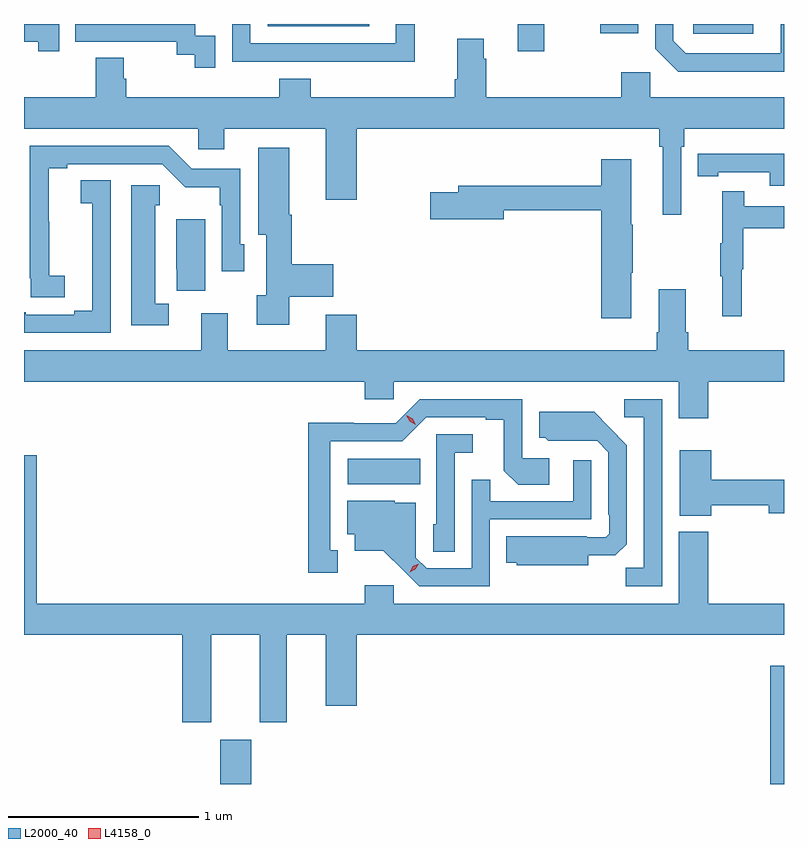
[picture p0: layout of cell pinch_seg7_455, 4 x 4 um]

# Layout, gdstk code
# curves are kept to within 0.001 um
import gdstk
lib = gdstk.Library(unit=1e-6, precision=1e-09)
def R(c, l, rs):  # rectangles x0, y0, x1, y1
    for r in rs: c.add(gdstk.rectangle(r[:2], r[2:], *l))
def P(c, l, *ps):  # polygons
    for p in ps: c.add(gdstk.Polygon(p, *l))
L2000_40 = (2000, 40)
L4158_0 = (4158, 0)

pinch_seg7_455 = lib.new_cell('pinch_seg7_455')
R(pinch_seg7_455, L2000_40, [(176.441,1067.762,176.605,1067.995), (179.336,1067.762,179.409,1068.385), (177.114,1069.34,177.494,1069.474), (178.007,1071.618,178.148,1071.762), (178.932,1071.711,179.248,1071.762), (178.442,1071.713,178.642,1071.762), (176.691,1071.75,177.226,1071.762)])
P(pinch_seg7_455, L2000_40, [(179.409,1071.762),(179.393,1071.762),(179.393,1071.609),(178.893,1071.609),(178.827,1071.675),(178.827,1071.762),(178.731,1071.762),(178.731,1071.633),(178.852,1071.512),(179.409,1071.512)],
  [(177.465,1071.762),(177.366,1071.762),(177.366,1071.66),(176.601,1071.66),(176.601,1071.762),(176.505,1071.762),(176.505,1071.564),(177.001,1071.564),(177.001,1071.563),(177.465,1071.563)],
  [(175.595,1071.762),(175.409,1071.762),(175.409,1071.669),(175.484,1071.669),(175.484,1071.618),(175.595,1071.618)],
  [(176.415,1071.699),(176.31,1071.699),(176.31,1071.762),(175.68,1071.762),(175.68,1071.669),(176.214,1071.669),(176.214,1071.601),(176.307,1071.601),(176.307,1071.531),(176.415,1071.531)],
  [(178.753,1071.116),(178.772,1071.116),(178.772,1070.757),(178.869,1070.757),(178.869,1071.116),(178.883,1071.116),(178.883,1071.212),(179.409,1071.212),(179.409,1071.376),(178.704,1071.376),(178.704,1071.508),(178.553,1071.508),(178.553,1071.376),(177.842,1071.376),(177.842,1071.578),(177.829,1071.578),(177.829,1071.685),(177.689,1071.685),(177.689,1071.472),(177.677,1071.472),(177.677,1071.376),(176.918,1071.376),(176.918,1071.475),(176.753,1071.475),(176.753,1071.376),(175.946,1071.376),(175.946,1071.474),(175.933,1071.474),(175.933,1071.584),(175.786,1071.584),(175.786,1071.376),(175.409,1071.376),(175.409,1071.212),(176.325,1071.212),(176.325,1071.102),(176.464,1071.102),(176.464,1071.212),(176.996,1071.212),(176.996,1070.838),(177.16,1070.838),(177.16,1071.212),(178.753,1071.212)],
  [(175.624,1070.438),(175.542,1070.438),(175.54,1071.004),(175.636,1071.004),(175.636,1071.024),(176.136,1071.024),(176.257,1070.903),(176.439,1070.903),(176.439,1070.807),(176.451,1070.807),(176.451,1070.46),(176.568,1070.46),(176.568,1070.604),(176.547,1070.604),(176.547,1071),(176.292,1071),(176.172,1071.12),(175.438,1071.12),(175.438,1070.425),(175.444,1070.425),(175.444,1070.323),(175.624,1070.323)],
  [(176.806,1070.327),(177.037,1070.327),(177.037,1070.498),(176.819,1070.498),(176.819,1070.758),(176.806,1070.758),(176.806,1071.112),(176.642,1071.112),(176.642,1070.654),(176.684,1070.654),(176.684,1070.334),(176.634,1070.334),(176.634,1070.178),(176.806,1070.178)],
  [(179.409,1071.079),(179.062,1071.079),(179.062,1071.078),(178.954,1071.078),(178.954,1070.962),(179.062,1070.962),(179.062,1070.982),(179.334,1070.982),(179.334,1070.91),(179.409,1070.91)],
  [(178.606,1070.452),(178.614,1070.452),(178.614,1070.705),(178.606,1070.705),(178.606,1071.049),(178.448,1071.049),(178.448,1070.911),(177.695,1070.911),(177.695,1070.877),(177.546,1070.877),(177.546,1070.735),(177.934,1070.735),(177.934,1070.782),(178.448,1070.782),(178.448,1070.214),(178.606,1070.214)],
  [(175.866,1070.939),(175.707,1070.939),(175.707,1070.819),(175.768,1070.819),(175.768,1070.515),(175.769,1070.515),(175.769,1070.252),(175.673,1070.252),(175.673,1070.232),(175.417,1070.232),(175.417,1070.246),(175.409,1070.246),(175.409,1070.136),(175.866,1070.136)],
  [(176.17,1070.289),(176.101,1070.289),(176.101,1070.808),(176.123,1070.808),(176.123,1070.914),(175.973,1070.914),(175.973,1070.177),(176.17,1070.177)],
  [(179.186,1070.472),(179.194,1070.472),(179.194,1070.686),(179.409,1070.686),(179.409,1070.802),(179.201,1070.802),(179.201,1070.881),(179.084,1070.881),(179.084,1070.609),(179.073,1070.609),(179.073,1070.435),(179.084,1070.435),(179.084,1070.223),(179.186,1070.223)],
  [(176.362,1070.734),(176.21,1070.734),(176.21,1070.47),(176.213,1070.47),(176.213,1070.358),(176.362,1070.358)],
  [(179.009,1069.88),(179.409,1069.88),(179.409,1070.044),(178.904,1070.044),(178.904,1070.14),(178.891,1070.14),(178.891,1070.365),(178.751,1070.365),(178.751,1070.14),(178.739,1070.14),(178.739,1070.044),(177.16,1070.044),(177.16,1070.233),(176.996,1070.233),(176.996,1070.044),(176.482,1070.044),(176.482,1070.239),(176.342,1070.239),(176.342,1070.044),(175.409,1070.044),(175.409,1069.88),(177.203,1069.88),(177.203,1069.787),(177.354,1069.787),(177.354,1069.88),(178.856,1069.88),(178.856,1069.686),(179.009,1069.686)],
  [(178.767,1069.788),(178.569,1069.788),(178.569,1069.692),(178.671,1069.692),(178.671,1068.899),(178.576,1068.899),(178.576,1068.804),(178.767,1068.804)],
  [(177.061,1068.993),(177.022,1068.993),(177.022,1069.566),(177.399,1069.566),(177.525,1069.692),(177.839,1069.692),(177.839,1069.68),(177.933,1069.68),(177.933,1069.412),(178.009,1069.336),(178.174,1069.336),(178.174,1069.476),(178.032,1069.476),(178.032,1069.788),(177.492,1069.788),(177.366,1069.662),(177.144,1069.662),(177.144,1069.664),(176.904,1069.664),(176.904,1068.873),(177.061,1068.873)],
  [(178.378,1068.965),(178.522,1068.965),(178.581,1069.024),(178.581,1069.546),(178.409,1069.72),(178.121,1069.72),(178.121,1069.584),(178.152,1069.584),(178.168,1069.568),(178.425,1069.569),(178.485,1069.509),(178.485,1069.18),(178.488,1069.18),(178.488,1069.08),(178.47,1069.062),(178.37,1069.062),(178.37,1069.066),(177.946,1069.066),(177.946,1068.926),(178.002,1068.926),(178.002,1068.914),(178.378,1068.914)],
  [(177.675,1069.505),(177.772,1069.505),(177.772,1069.602),(177.579,1069.602),(177.579,1069.128),(177.564,1069.128),(177.564,1068.985),(177.675,1068.985)],
  [(179.026,1069.228),(179.33,1069.228),(179.33,1069.186),(179.409,1069.186),(179.409,1069.364),(179.026,1069.364),(179.026,1069.519),(178.859,1069.519),(178.859,1069.175),(179.026,1069.175)],
  [(176.395,1068.548),(176.651,1068.548),(176.651,1068.087),(176.791,1068.087),(176.791,1068.548),(176.996,1068.548),(176.996,1068.174),(177.16,1068.174),(177.16,1068.548),(179.409,1068.548),(179.409,1068.712),(179.009,1068.712),(179.009,1069.09),(178.856,1069.09),(178.856,1068.712),(177.354,1068.712),(177.354,1068.808),(177.203,1068.808),(177.203,1068.712),(175.475,1068.712),(175.475,1069.492),(175.409,1069.492),(175.409,1068.548),(176.243,1068.548),(176.243,1068.087),(176.395,1068.087)],
  [(177.861,1069.155),(178.395,1069.155),(178.395,1069.465),(178.299,1069.465),(178.299,1069.251),(177.863,1069.251),(177.863,1069.364),(177.765,1069.364),(177.765,1068.897),(177.528,1068.897),(177.471,1068.954),(177.471,1069.243),(177.36,1069.243),(177.36,1069.252),(177.11,1069.252),(177.11,1069.076),(177.149,1069.076),(177.149,1068.989),(177.301,1068.989),(177.488,1068.804),(177.861,1068.804)])
P(pinch_seg7_455, L4158_0, [(177.438,1068.877),(177.438,1068.877),(177.456,1068.907),(177.486,1068.922),(177.486,1068.922),(177.486,1068.922),(177.469,1068.892),(177.439,1068.877)],
  [(177.471,1069.652),(177.439,1069.67),(177.421,1069.702),(177.421,1069.703),(177.422,1069.703),(177.454,1069.684),(177.472,1069.652),(177.472,1069.652)])

lib.write_gds('pinch_seg7_455.gds')
